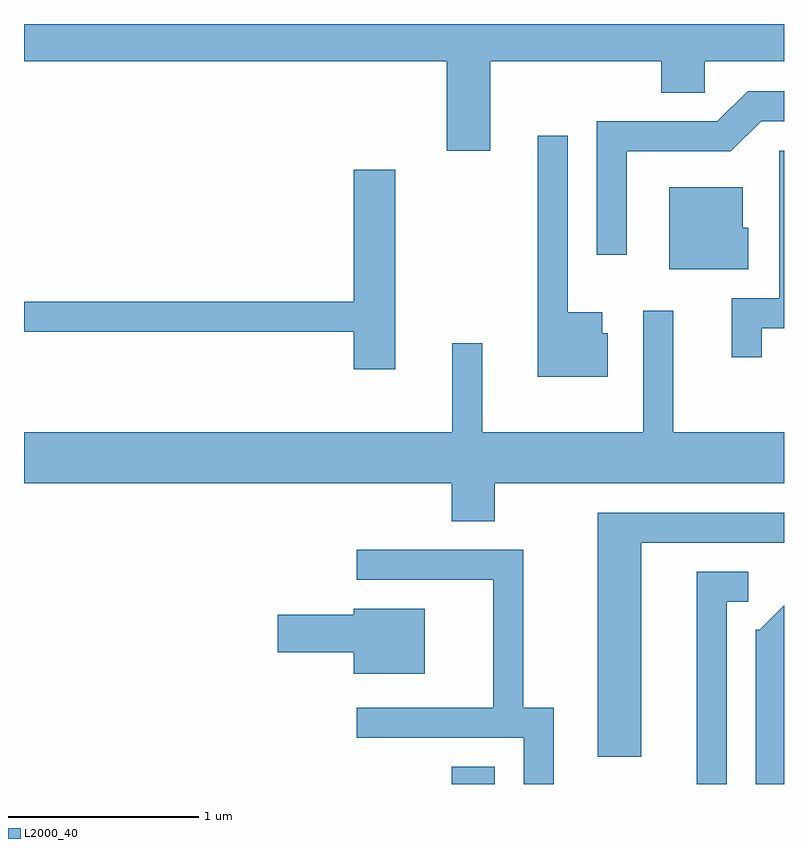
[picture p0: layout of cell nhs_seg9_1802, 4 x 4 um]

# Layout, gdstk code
import gdstk
lib = gdstk.Library(unit=1e-6, precision=1e-09)
def R(c, l, rs):  # rectangles x0, y0, x1, y1
    for r in rs: c.add(gdstk.rectangle(r[:2], r[2:], *l))
def P(c, l, *ps):  # polygons
    for p in ps: c.add(gdstk.Polygon(p, *l))
L2000_40 = (2000, 40)

nhs_seg9_1802 = lib.new_cell('nhs_seg9_1802')
R(nhs_seg9_1802, L2000_40, [(239.861,2012.432,240.089,2012.524)])
P(nhs_seg9_1802, L2000_40, [(240.064,2016.236),(240.966,2016.236),(240.966,2016.071),(241.194,2016.071),(241.194,2016.236),(241.611,2016.236),(241.611,2016.432),(237.611,2016.432),(237.611,2016.236),(239.836,2016.236),(239.836,2015.766),(240.064,2015.766)],
  [(240.784,2015.761),(241.332,2015.761),(241.492,2015.921),(241.611,2015.921),(241.611,2016.079),(241.419,2016.079),(241.259,2015.919),(240.626,2015.919),(240.626,2015.218),(240.784,2015.218)],
  [(240.684,2014.804),(240.654,2014.804),(240.654,2014.914),(240.474,2014.914),(240.474,2015.843),(240.316,2015.843),(240.316,2014.576),(240.684,2014.576)],
  [(241.494,2014.831),(241.611,2014.831),(241.611,2015.764),(241.586,2015.764),(241.586,2014.989),(241.336,2014.989),(241.336,2014.678),(241.494,2014.678)],
  [(239.564,2015.664),(239.346,2015.664),(239.346,2014.969),(237.611,2014.969),(237.611,2014.811),(239.346,2014.811),(239.346,2014.616),(239.564,2014.616)],
  [(241.424,2015.359),(241.394,2015.359),(241.394,2015.574),(241.006,2015.574),(241.006,2015.141),(241.424,2015.141)],
  [(240.089,2014.016),(241.611,2014.016),(241.611,2014.284),(241.029,2014.284),(241.029,2014.923),(240.871,2014.923),(240.871,2014.284),(240.024,2014.284),(240.024,2014.753),(239.866,2014.753),(239.866,2014.284),(237.611,2014.284),(237.611,2014.016),(239.861,2014.016),(239.861,2013.816),(240.089,2013.816)],
  [(240.859,2013.701),(241.611,2013.701),(241.611,2013.859),(240.631,2013.859),(240.631,2012.576),(240.859,2012.576)],
  [(240.399,2012.834),(240.239,2012.834),(240.239,2013.664),(239.363,2013.664),(239.363,2013.506),(240.081,2013.506),(240.081,2012.834),(239.363,2012.834),(239.363,2012.676),(240.241,2012.676),(240.241,2012.432),(240.399,2012.432)],
  [(241.309,2013.391),(241.423,2013.391),(241.423,2013.549),(241.151,2013.549),(241.151,2012.432),(241.309,2012.432)],
  [(241.611,2013.372),(241.484,2013.244),(241.461,2013.244),(241.461,2012.432),(241.611,2012.432)],
  [(239.719,2013.354),(239.346,2013.354),(239.346,2013.324),(238.946,2013.324),(238.946,2013.126),(239.346,2013.126),(239.346,2013.011),(239.719,2013.011)])

lib.write_gds('nhs_seg9_1802.gds')
